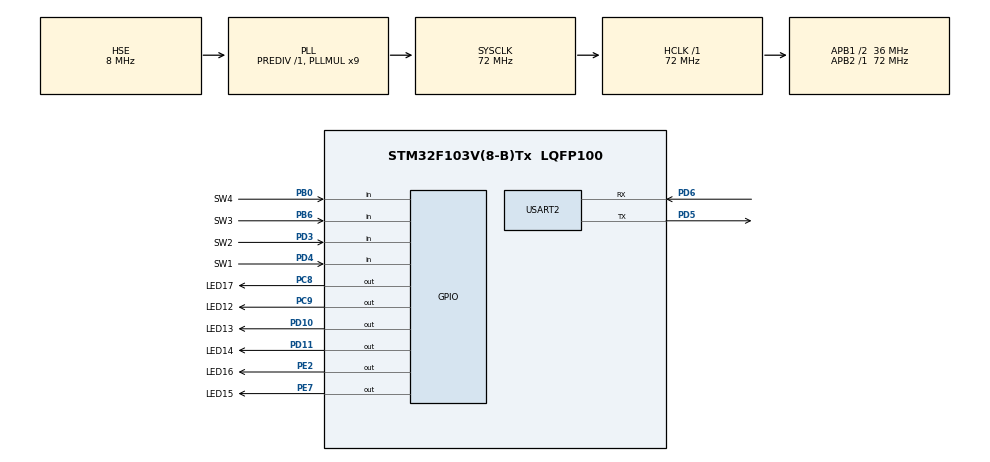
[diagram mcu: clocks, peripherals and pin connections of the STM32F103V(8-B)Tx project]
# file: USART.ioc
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Mcu.Family=STM32F1
Mcu.Name=STM32F103V(8-B)Tx
Mcu.Package=LQFP100
NVIC.PriorityGroup=NVIC_PRIORITYGROUP_4
NVIC.USART2_IRQn=true\:0\:0\:false\:false\:true\:true\:true\:true
OSC_IN.Mode=HSE-External-Oscillator
OSC_IN.Signal=RCC_OSC_IN
OSC_OUT.Mode=HSE-External-Oscillator
OSC_OUT.Signal=RCC_OSC_OUT
PA13.Mode=Serial_Wire
PA13.Signal=SYS_JTMS-SWDIO
PA14.Mode=Serial_Wire
PA14.Signal=SYS_JTCK-SWCLK
PB0.GPIO_Label=SW4
PB0.Signal=GPIO_Input
PB6.GPIO_Label=SW3
PB6.Signal=GPIO_Input
PC14-OSC32_IN.Mode=LSE-External-Oscillator
PC14-OSC32_IN.Signal=RCC_OSC32_IN
PC15-OSC32_OUT.Mode=LSE-External-Oscillator
PC15-OSC32_OUT.Signal=RCC_OSC32_OUT
PC8.GPIO_Label=LED17
PC8.Signal=GPIO_Output
PC9.GPIO_Label=LED12
PC9.Signal=GPIO_Output
PD10.GPIO_Label=LED13
PD10.Signal=GPIO_Output
PD11.GPIO_Label=LED14
PD11.Signal=GPIO_Output
PD3.GPIO_Label=SW2
PD3.Signal=GPIO_Input
PD4.GPIO_Label=SW1
PD4.Signal=GPIO_Input
PD5.Mode=Asynchronous
PD5.Signal=USART2_TX
PD6.Mode=Asynchronous
PD6.Signal=USART2_RX
PE2.GPIO_Label=LED16
PE2.Signal=GPIO_Output
PE7.GPIO_Label=LED15
PE7.Signal=GPIO_Output
ProjectManager.HeapSize=0x200
ProjectManager.StackSize=0x400
ProjectManager.TargetToolchain=STM32CubeIDE
RCC.AHBFreq_Value=72000000
RCC.APB1CLKDivider=RCC_HCLK_DIV2
RCC.APB1Freq_Value=36000000
RCC.APB1TimFreq_Value=72000000
RCC.APB2Freq_Value=72000000
RCC.APB2TimFreq_Value=72000000
RCC.HCLKFreq_Value=72000000
RCC.PLLMUL=RCC_PLL_MUL9
RCC.PLLSourceVirtual=RCC_PLLSOURCE_HSE
RCC.SYSCLKFreq_VALUE=72000000
RCC.SYSCLKSource=RCC_SYSCLKSOURCE_PLLCLK
RCC.USBFreq_Value=72000000
USART2.VirtualMode=VM_ASYNC
board=custom

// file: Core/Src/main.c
/* USER CODE BEGIN Header */
/**
  ******************************************************************************
  * @file           : main.c
  * @brief          : Main program body
  ******************************************************************************
  * @attention
  *
  * Copyright (c) 2022 STMicroelectronics.
  * All rights reserved.
  *
  * This software is licensed under terms that can be found in the LICENSE file
  * in the root directory of this software component.
  * If no LICENSE file comes with this software, it is provided AS-IS.
  *
  ******************************************************************************
  */
/* USER CODE END Header */
#include "main.h"

/* USER CODE BEGIN Includes */
#include "../../Hardware/usart/usart.h"
/* USER CODE END Includes */

UART_HandleTypeDef huart2;

void SystemClock_Config(void);
static void MX_GPIO_Init(void);
static void MX_USART2_UART_Init(void);
/* USER CODE BEGIN PFP */
int check_sw();
void LED_ALL(uint8_t a);
/* USER CODE END PFP */

int main(void)
{

  /* MCU Configuration--------------------------------------------------------*/

  /* Reset of all peripherals, Initializes the Flash interface and the Systick. */
  HAL_Init();

  /* Configure the system clock */
  SystemClock_Config();

  /* Initialize all configured peripherals */
  MX_GPIO_Init();
  MX_USART2_UART_Init();
  /* USER CODE BEGIN 2 */
  HAL_UART_Receive_IT(&huart2,(uint8_t *)&USART2_NewData,1);//开启串口2接收中断
  /* USER CODE END 2 */

  /* Infinite loop */
  /* USER CODE BEGIN WHILE */
  while (1)
  {
      if(USART2_RX_STA!=0)
      {
    	  int receive = USART2_RX_BUF[0] - 48;
    	  if(receive == 1||receive == 2||receive == 3||receive == 4)
    	  {
        	  LED_ALL(1);
        	  HAL_Delay(receive*100);
        	  LED_ALL(0);
        	  HAL_Delay(receive*100);
        	  LED_ALL(1);
    		  HAL_Delay(receive*100);
    		  LED_ALL(0);
    		  HAL_Delay(receive*100);
    	  }
    	  USART2_RX_STA=0;//清除标志位
      }
      int check = check_sw();
      if(check == 1||check == 2||check == 3||check == 4)
      {
    	  LED_ALL(1);
    	  HAL_Delay(check*100);
    	  LED_ALL(0);
    	  HAL_Delay(check*100);
    	  LED_ALL(1);
		  HAL_Delay(check*100);
		  LED_ALL(0);
		  HAL_Delay(check*100);
		  switch(check)
		  {
		  case 1:
			  HAL_UART_Transmit(&huart2,(uint8_t*)&"1\r\n",3,0xffff);
		  case 2:
			  HAL_UART_Transmit(&huart2,(uint8_t*)&"2\r\n",3,0xffff);
		  case 3:
			  HAL_UART_Transmit(&huart2,(uint8_t*)&"3\r\n",3,0xffff);
		  case 4:
			  HAL_UART_Transmit(&huart2,(uint8_t*)&"4\r\n",3,0xffff);
		  }
      }
    /* USER CODE END WHILE */

  }
}

void SystemClock_Config(void)
{
  RCC_OscInitTypeDef RCC_OscInitStruct = {0};
  RCC_ClkInitTypeDef RCC_ClkInitStruct = {0};

  /** Initializes the RCC Oscillators according to the specified parameters
  * in the RCC_OscInitTypeDef structure.
  */
  RCC_OscInitStruct.OscillatorType = RCC_OSCILLATORTYPE_HSE;
  RCC_OscInitStruct.HSEState = RCC_HSE_ON;
  RCC_OscInitStruct.HSEPredivValue = RCC_HSE_PREDIV_DIV1;
  RCC_OscInitStruct.HSIState = RCC_HSI_ON;
  RCC_OscInitStruct.PLL.PLLState = RCC_PLL_ON;
  RCC_OscInitStruct.PLL.PLLSource = RCC_PLLSOURCE_HSE;
  RCC_OscInitStruct.PLL.PLLMUL = RCC_PLL_MUL9;
  if (HAL_RCC_OscConfig(&RCC_OscInitStruct) != HAL_OK)
  {
    Error_Handler();
  }

  /** Initializes the CPU, AHB and APB buses clocks
  */
  RCC_ClkInitStruct.ClockType = RCC_CLOCKTYPE_HCLK|RCC_CLOCKTYPE_SYSCLK
                              |RCC_CLOCKTYPE_PCLK1|RCC_CLOCKTYPE_PCLK2;
  RCC_ClkInitStruct.SYSCLKSource = RCC_SYSCLKSOURCE_PLLCLK;
  RCC_ClkInitStruct.AHBCLKDivider = RCC_SYSCLK_DIV1;
  RCC_ClkInitStruct.APB1CLKDivider = RCC_HCLK_DIV2;
  RCC_ClkInitStruct.APB2CLKDivider = RCC_HCLK_DIV1;

  if (HAL_RCC_ClockConfig(&RCC_ClkInitStruct, FLASH_LATENCY_2) != HAL_OK)
  {
    Error_Handler();
  }
}

static void MX_USART2_UART_Init(void)
{

  huart2.Instance = USART2;
  huart2.Init.BaudRate = 115200;
  huart2.Init.WordLength = UART_WORDLENGTH_8B;
  huart2.Init.StopBits = UART_STOPBITS_1;
  huart2.Init.Parity = UART_PARITY_NONE;
  huart2.Init.Mode = UART_MODE_TX_RX;
  huart2.Init.HwFlowCtl = UART_HWCONTROL_NONE;
  huart2.Init.OverSampling = UART_OVERSAMPLING_16;
  if (HAL_UART_Init(&huart2) != HAL_OK)
  {
    Error_Handler();
  }

}

static void MX_GPIO_Init(void)
{
  GPIO_InitTypeDef GPIO_InitStruct = {0};

  /* GPIO Ports Clock Enable */
  __HAL_RCC_GPIOE_CLK_ENABLE();
  __HAL_RCC_GPIOC_CLK_ENABLE();
  __HAL_RCC_GPIOB_CLK_ENABLE();
  __HAL_RCC_GPIOD_CLK_ENABLE();
  __HAL_RCC_GPIOA_CLK_ENABLE();

  /*Configure GPIO pin Output Level */
  HAL_GPIO_WritePin(GPIOE, LED16_Pin|LED15_Pin, GPIO_PIN_RESET);

  /*Configure GPIO pin Output Level */
  HAL_GPIO_WritePin(GPIOD, LED13_Pin|LED14_Pin, GPIO_PIN_RESET);

  /*Configure GPIO pin Output Level */
  HAL_GPIO_WritePin(GPIOC, LED17_Pin|LED12_Pin, GPIO_PIN_RESET);

  /*Configure GPIO pins : LED16_Pin LED15_Pin */
  GPIO_InitStruct.Pin = LED16_Pin|LED15_Pin;
  GPIO_InitStruct.Mode = GPIO_MODE_OUTPUT_PP;
  GPIO_InitStruct.Pull = GPIO_NOPULL;
  GPIO_InitStruct.Speed = GPIO_SPEED_FREQ_LOW;
  HAL_GPIO_Init(GPIOE, &GPIO_InitStruct);

  /*Configure GPIO pins : SW4_Pin SW3_Pin */
  GPIO_InitStruct.Pin = SW4_Pin|SW3_Pin;
  GPIO_InitStruct.Mode = GPIO_MODE_INPUT;
  GPIO_InitStruct.Pull = GPIO_NOPULL;
  HAL_GPIO_Init(GPIOB, &GPIO_InitStruct);

  /*Configure GPIO pins : LED13_Pin LED14_Pin */
  GPIO_InitStruct.Pin = LED13_Pin|LED14_Pin;
  GPIO_InitStruct.Mode = GPIO_MODE_OUTPUT_PP;
  GPIO_InitStruct.Pull = GPIO_NOPULL;
  GPIO_InitStruct.Speed = GPIO_SPEED_FREQ_LOW;
  HAL_GPIO_Init(GPIOD, &GPIO_InitStruct);

  /*Configure GPIO pins : LED17_Pin LED12_Pin */
  GPIO_InitStruct.Pin = LED17_Pin|LED12_Pin;
  GPIO_InitStruct.Mode = GPIO_MODE_OUTPUT_PP;
  GPIO_InitStruct.Pull = GPIO_NOPULL;
  GPIO_InitStruct.Speed = GPIO_SPEED_FREQ_LOW;
  HAL_GPIO_Init(GPIOC, &GPIO_InitStruct);

  /*Configure GPIO pins : SW2_Pin SW1_Pin */
  GPIO_InitStruct.Pin = SW2_Pin|SW1_Pin;
  GPIO_InitStruct.Mode = GPIO_MODE_INPUT;
  GPIO_InitStruct.Pull = GPIO_NOPULL;
  HAL_GPIO_Init(GPIOD, &GPIO_InitStruct);

}

/* USER CODE BEGIN 4 */
//check which sw is pressed
int check_sw(){
	//check if sw1 is pressed
	if(HAL_GPIO_ReadPin(GPIOD, SW1_Pin)){
		HAL_Delay(10);
		if(HAL_GPIO_ReadPin(GPIOD, SW1_Pin)){
			return 1;
		}
	}

	//check if sw2 is pressed
	if(HAL_GPIO_ReadPin(GPIOD, SW2_Pin)){
		HAL_Delay(10);
		if(HAL_GPIO_ReadPin(GPIOD, SW2_Pin)){
			return 2;
		}
	}

	//check if sw3 is pressed
	if(HAL_GPIO_ReadPin(GPIOB, SW3_Pin)){
		HAL_Delay(10);
		if(HAL_GPIO_ReadPin(GPIOB, SW3_Pin)){
			return 3;
		}
	}

	//check if sw4 is pressed
	if(HAL_GPIO_ReadPin(GPIOB, SW4_Pin)){
		HAL_Delay(10);
		if(HAL_GPIO_ReadPin(GPIOB, SW4_Pin)){
			return 4;
		}
	}
	return 0;
}

void LED_ALL(uint8_t a)//LED1独立控制函数（0为熄灭，其他值为点亮）
{
	if(a)
	{
		HAL_GPIO_WritePin(GPIOC,LED12_Pin,GPIO_PIN_SET);
		HAL_GPIO_WritePin(GPIOD,LED13_Pin,GPIO_PIN_SET);
		HAL_GPIO_WritePin(GPIOD,LED14_Pin,GPIO_PIN_SET);
		HAL_GPIO_WritePin(GPIOE,LED15_Pin,GPIO_PIN_SET);
		HAL_GPIO_WritePin(GPIOE,LED16_Pin,GPIO_PIN_SET);
		HAL_GPIO_WritePin(GPIOC,LED17_Pin,GPIO_PIN_SET);
	}
	else
	{
		HAL_GPIO_WritePin(GPIOC,LED12_Pin,GPIO_PIN_RESET);
		HAL_GPIO_WritePin(GPIOD,LED13_Pin,GPIO_PIN_RESET);
		HAL_GPIO_WritePin(GPIOD,LED14_Pin,GPIO_PIN_RESET);
		HAL_GPIO_WritePin(GPIOE,LED15_Pin,GPIO_PIN_RESET);
		HAL_GPIO_WritePin(GPIOE,LED16_Pin,GPIO_PIN_RESET);
		HAL_GPIO_WritePin(GPIOC,LED17_Pin,GPIO_PIN_RESET);
	}
}

/* USER CODE END 4 */

void Error_Handler(void)
{
  __disable_irq();
  while (1)
  {
  }
}
